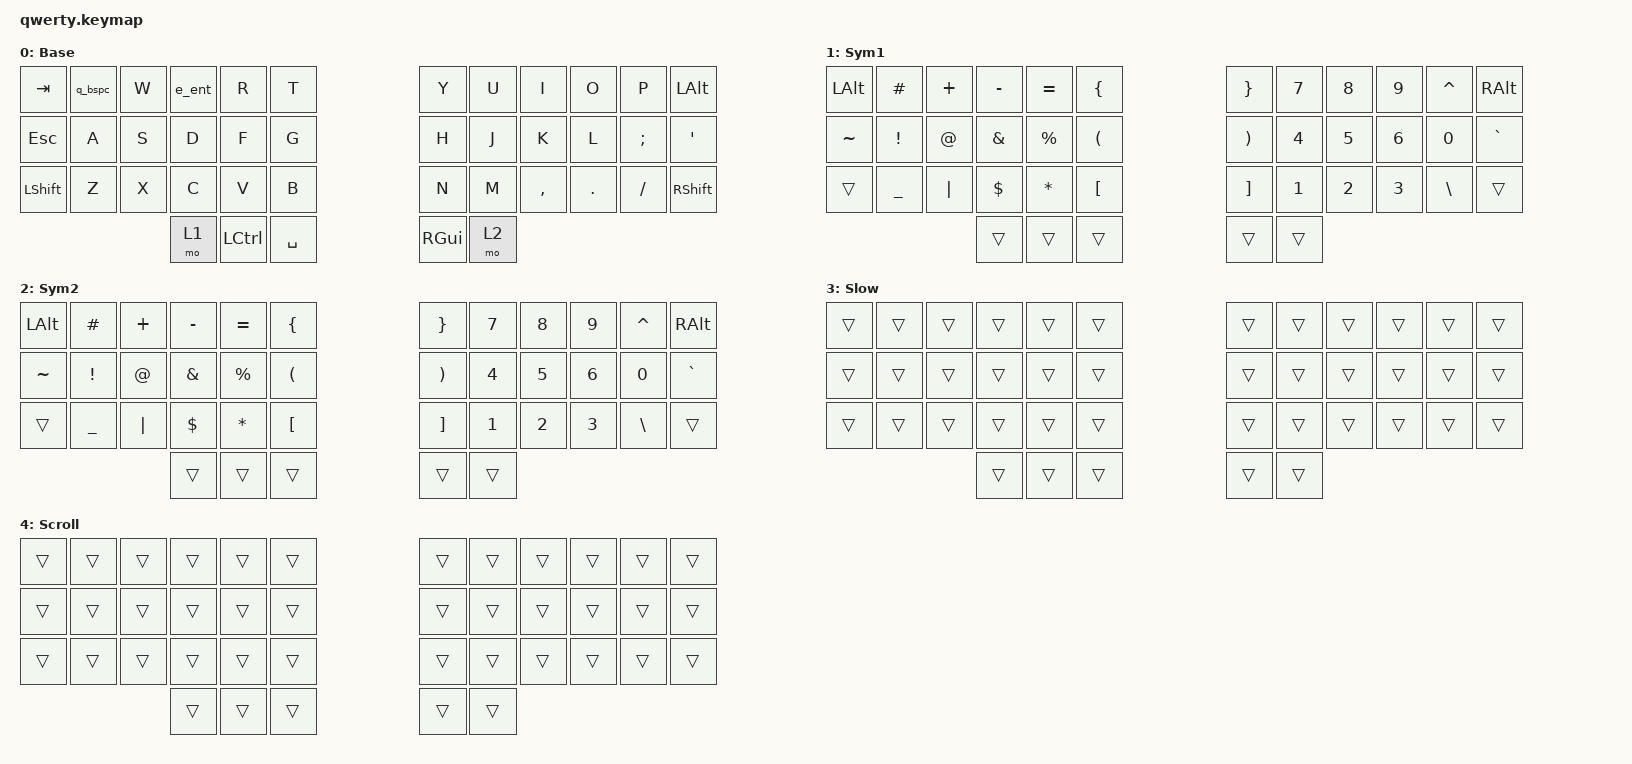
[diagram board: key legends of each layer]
/* upstream bindings and behaviors */
#include <behaviors.dtsi>
#include <dt-bindings/zmk/bt.h>
#include <dt-bindings/zmk/keys.h>
#include <dt-bindings/zmk/mouse.h>
#include <dt-bindings/zmk/outputs.h>
#include <behaviors/mouse_keys.dtsi>
#include <dt-bindings/zmk/ext_power.h>

/* local overlays */
#include "macros.dtsi"
#include "behaviors.dtsi"
#include "combos.dtsi"

/ {
/* --- KEYMAP CONFIG --- */
// ╭──────┬──────┬──────┬──────┬──────┬──────╮  ╭──────┬──────┬──────┬──────┬──────┬──────╮
//    00     01     02     03    04      05        06     07     08     09     10     11
// ├──────┼──────┼──────┼──────┼──────┼──────┤  ├──────┼──────┼──────┼──────┼──────┼──────┤
//    12     13     14     15    16      17        18     19     20     21     22     23
// ├──────┼──────┼──────┼──────┼──────┼──────┤  ├──────┼──────┼──────┼──────┼──────┼──────┤
//    24     25     26     27    28      29        30     31     32     33     34     35
// ╰──────┴──────┴──────┼──────┼──────┼──────┤  ├──────┼──────┼──────┴──────┴──────┴──────╯
//                         36     37     38        39     40
//                      ╰──────┴──────┴──────╯  ╰──────┴──────╯
// #define BASE    0
// #define SYM1    1
// #define SYM2    2
// #define SLOW    3
// #define SCROLL  4

    keymap {
        compatible = "zmk,keymap";
        BASE {
            display-name = "Base";
            bindings = <
&kp TAB    &q_bspc  &kp W  &e_ent  &kp R      &kp T                                      &kp Y     &kp U     &kp I      &kp O    &kp P     &kp LALT
&kp ESC    &kp A    &kp S  &kp D   &kp F      &kp G                                      &kp H     &kp J     &kp K      &kp L    &kp SEMI  &kp SQT
&kp LSHFT  &kp Z    &kp X  &kp C   &kp V      &kp B                                      &kp N     &kp M     &kp COMMA  &kp DOT  &kp FSLH  &kp RSHFT
                           &mo 1   &kp LCTRL  &kp SPACE                                  &kp RGUI  &mo 2
            >;
        };

        SYM1 {
            display-name = "Sym1";
            bindings = <
&kp LALT   &kp HASH         &kp PLUS     &kp MINUS      &kp EQUAL     &kp LBRC           &kp RBRC  &kp N7  &kp N8  &kp N9  &kp CARET &kp RALT
&kp TILDE  &kp EXCLAMATION  &kp AT_SIGN  &kp AMPERSAND  &kp PERCENT   &kp LPAR           &kp RPAR  &kp N4  &kp N5  &kp N6  &kp N0    &kp GRAVE
&trans     &kp UNDERSCORE   &kp PIPE     &kp DOLLAR     &kp ASTERISK  &kp LBKT           &kp RBKT  &kp N1  &kp N2  &kp N3  &kp BSLH  &trans
                                         &trans         &trans        &trans             &trans    &trans 
            >;
        };

        SYM2 {
            display-name = "Sym2";
            bindings = <
&kp LALT   &kp HASH         &kp PLUS     &kp MINUS      &kp EQUAL     &kp LBRC           &kp RBRC  &kp N7  &kp N8  &kp N9  &kp CARET &kp RALT
&kp TILDE  &kp EXCLAMATION  &kp AT_SIGN  &kp AMPERSAND  &kp PERCENT   &kp LPAR           &kp RPAR  &kp N4  &kp N5  &kp N6  &kp N0    &kp GRAVE
&trans     &kp UNDERSCORE   &kp PIPE     &kp DOLLAR     &kp ASTERISK  &kp LBKT           &kp RBKT  &kp N1  &kp N2  &kp N3  &kp BSLH  &trans
                                         &trans         &trans        &trans             &trans    &trans 
            >;
        };

        SLOW {
            display-name = "Slow";
            bindings = <
&trans    &trans    &trans    &trans    &trans    &trans                                 &trans    &trans    &trans    &trans    &trans    &trans
&trans    &trans    &trans    &trans    &trans    &trans                                 &trans    &trans    &trans    &trans    &trans    &trans
&trans    &trans    &trans    &trans    &trans    &trans                                 &trans    &trans    &trans    &trans    &trans    &trans
                              &trans    &trans    &trans                                 &trans    &trans
            >;
        };

        SCROLL {
            display-name = "Scroll";
            bindings = <
&trans    &trans    &trans    &trans    &trans    &trans                                 &trans    &trans    &trans    &trans    &trans    &trans
&trans    &trans    &trans    &trans    &trans    &trans                                 &trans    &trans    &trans    &trans    &trans    &trans
&trans    &trans    &trans    &trans    &trans    &trans                                 &trans    &trans    &trans    &trans    &trans    &trans
                              &trans    &trans    &trans                                 &trans    &trans
            >;
        };
    };
};
